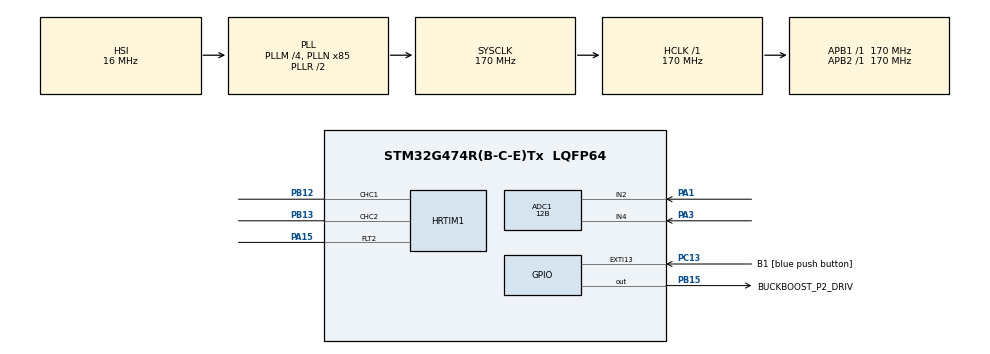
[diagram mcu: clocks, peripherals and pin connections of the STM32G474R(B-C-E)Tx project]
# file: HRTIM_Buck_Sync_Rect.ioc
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ADC1.Channel-3\#ChannelRegularConversion=ADC_CHANNEL_2
ADC1.Channel-IN2=ADC_CHANNEL_2
ADC1.Channel-IN4=ADC_CHANNEL_4
ADC1.ClockPrescaler=ADC_CLOCK_SYNC_PCLK_DIV4
ADC1.ContinuousConvMode=DISABLE
ADC1.DMAContinuousRequests=DISABLE
ADC1.DataAlign=ADC_DATAALIGN_RIGHT
ADC1.DiscontinuousConvMode=DISABLE
ADC1.EOCSelection=ADC_EOC_SINGLE_CONV
ADC1.EnableAnalogWatchDog1=false
ADC1.EnableAnalogWatchDog2=false
ADC1.EnableAnalogWatchDog3=false
ADC1.EnableInjectedConversion=ENABLE
ADC1.EnableInjectedOversampling=DISABLE
ADC1.EnableRegularConversion=ENABLE
ADC1.ExternalTrigConv=ADC_SOFTWARE_START
ADC1.ExternalTrigConvEdge=ADC_EXTERNALTRIGCONVEDGE_NONE
ADC1.ExternalTrigInjecConv=ADC_EXTERNALTRIGINJEC_HRTIM_TRG2
ADC1.ExternalTrigInjecConvEdge=ADC_EXTERNALTRIGINJECCONV_EDGE_RISING
ADC1.GainCompensation=0
ADC1.InjNumberOfConversion=2
ADC1.InjectedChannel-1\#ChannelInjectedConversion=ADC_CHANNEL_2
ADC1.InjectedChannel-2\#ChannelInjectedConversion=ADC_CHANNEL_4
ADC1.InjectedConvMode=None
ADC1.InjectedOffsetNumber-1\#ChannelInjectedConversion=ADC_OFFSET_NONE
ADC1.InjectedOffsetNumber-2\#ChannelInjectedConversion=ADC_OFFSET_NONE
ADC1.InjectedRank-1\#ChannelInjectedConversion=1
ADC1.InjectedRank-2\#ChannelInjectedConversion=2
ADC1.InjectedSamplingTime-1\#ChannelInjectedConversion=ADC_SAMPLETIME_247CYCLES_5
ADC1.InjectedSamplingTime-2\#ChannelInjectedConversion=ADC_SAMPLETIME_247CYCLES_5
ADC1.LowPowerAutoWait=DISABLE
ADC1.Mode=ADC_MODE_INDEPENDENT
ADC1.NbrOfConversion=1
ADC1.OffsetNumber-3\#ChannelRegularConversion=ADC_OFFSET_NONE
ADC1.Overrun=ADC_OVR_DATA_PRESERVED
ADC1.OversamplingMode=DISABLE
ADC1.Rank-3\#ChannelRegularConversion=1
ADC1.Resolution=ADC_RESOLUTION_12B
ADC1.SamplingTime-3\#ChannelRegularConversion=ADC_SAMPLETIME_247CYCLES_5
ADC1.ScanConvMode=ADC_SCAN_ENABLE
ADC1.injectedQueueMode=DISABLE
ADC1.master=1
HRTIM1.ADCTrigger2_Source1=HRTIM_ADCTRIGGEREVENT24_TIMERC_CMP2
HRTIM1.ADCTrigger_Id1=__NULL
HRTIM1.ADCTrigger_Id10=__NULL
HRTIM1.ADCTrigger_Id2=HRTIM_ADCTRIGGER_2
HRTIM1.ADCTrigger_Id3=__NULL
HRTIM1.ADCTrigger_Id4=__NULL
HRTIM1.ADCTrigger_Id5=__NULL
HRTIM1.ADCTrigger_Id6=__NULL
HRTIM1.ADCTrigger_Id7=__NULL
HRTIM1.ADCTrigger_Id8=__NULL
HRTIM1.ADCTrigger_Id9=__NULL
HRTIM1.AutoDelayedMode2-Output_TC1TC2=HRTIM_AUTODELAYEDMODE_REGULAR
HRTIM1.BlankingSourceFaultLine2=HRTIM_FAULTBLANKINGMODE_RSTALIGNED
HRTIM1.BurstDMAconfig-Output_TC1TC2=__NULL
HRTIM1.BurstMode-Output_TC1TC2=HRTIM_TIMERBURSTMODE_MAINTAINCLOCK
HRTIM1.BurstModeEntryDelayed1-Output_TC1TC2=HRTIM_OUTPUTBURSTMODEENTRY_REGULAR
HRTIM1.BurstModeEntryDelayed2-Output_TC1TC2=HRTIM_OUTPUTBURSTMODEENTRY_REGULAR
HRTIM1.CaptureUnit1-Output_TC1TC2=__NULL
HRTIM1.CaptureUnit2-Output_TC1TC2=__NULL
HRTIM1.ChopperModeEnable1-Output_TC1TC2=HRTIM_OUTPUTCHOPPERMODE_DISABLED
HRTIM1.ChopperModeEnable2-Output_TC1TC2=HRTIM_OUTPUTCHOPPERMODE_DISABLED
HRTIM1.ChopperModeconfig-Output_TC1TC2=__NULL
HRTIM1.CompareUnit1-Output_TC1TC2=HRTIM_COMPAREUNIT_1
HRTIM1.CompareUnit2-Output_TC1TC2=HRTIM_COMPAREUNIT_2
HRTIM1.CompareUnit3-Output_TC1TC2=__NULL
HRTIM1.CompareUnit4-Output_TC1TC2=__NULL
HRTIM1.CompareValue1-Output_TC1TC2=BUCK_PWM_PERIOD/20
HRTIM1.CompareValue2-Output_TC1TC2=BUCK_PWM_PERIOD/10
HRTIM1.Configuration_TC=Waveform
HRTIM1.CounterFaultLine2=0
HRTIM1.DACSynchro-Output_TC1TC2=HRTIM_DACSYNC_NONE
HRTIM1.DeadTimeInsertion-Output_TC1TC2=HRTIM_TIMDEADTIMEINSERTION_ENABLED
HRTIM1.Deadtimeconfig-Output_TC1TC2=HRTIM_TIMERINDEX_TIMER_C
HRTIM1.DelayedProtectionMode-Output_TC1TC2=HRTIM_TIMER_A_B_C_DELAYEDPROTECTION_DISABLED
HRTIM1.DualChannelDacEnableFake_TC-Output_TC1TC2=HRTIM_TIMER_DCDE_DISABLED
HRTIM1.Enable=HRTIM_BURSTMODECTL_DISABLED
HRTIM1.Enable_FaultLine2=HRTIM_FAULTMODECTL_ENABLED
HRTIM1.Event1-Output_TC1TC2=__NULL
HRTIM1.Event10-Output_TC1TC2=__NULL
HRTIM1.Event2-Output_TC1TC2=__NULL
HRTIM1.Event3-Output_TC1TC2=__NULL
HRTIM1.Event4-Output_TC1TC2=__NULL
HRTIM1.Event5-Output_TC1TC2=__NULL
HRTIM1.Event6-Output_TC1TC2=__NULL
HRTIM1.Event7-Output_TC1TC2=__NULL
HRTIM1.Event8-Output_TC1TC2=__NULL
HRTIM1.Event9-Output_TC1TC2=__NULL
HRTIM1.EventEnableA-Output_TC1TC2=__NULL
HRTIM1.Event_EEV1=__NULL
HRTIM1.Event_EEV10=__NULL
HRTIM1.Event_EEV2=__NULL
HRTIM1.Event_EEV3=__NULL
HRTIM1.Event_EEV4=__NULL
HRTIM1.Event_EEV5=__NULL
HRTIM1.Event_EEV6=__NULL
HRTIM1.Event_EEV7=__NULL
HRTIM1.Event_EEV8=__NULL
HRTIM1.Event_EEV9=__NULL
HRTIM1.FallingLock-Output_TC1TC2=HRTIM_TIMDEADTIME_FALLINGLOCK_WRITE
HRTIM1.FallingSign-Output_TC1TC2=HRTIM_TIMDEADTIME_FALLINGSIGN_POSITIVE
HRTIM1.FallingSignLock-Output_TC1TC2=HRTIM_TIMDEADTIME_FALLINGSIGNLOCK_READONLY
HRTIM1.FallingValue-Output_TC1TC2=DT_FALLING
HRTIM1.FaultEnable_Source1-Output_TC1TC2=HRTIM_TIMFAULTENABLE_FAULT2
HRTIM1.FaultLevel1-Output_TC1TC2=HRTIM_OUTPUTFAULTLEVEL_INACTIVE
HRTIM1.FaultLevel2-Output_TC1TC2=HRTIM_OUTPUTFAULTLEVEL_INACTIVE
HRTIM1.FaultLock-Output_TC1TC2=HRTIM_TIMFAULTLOCK_READWRITE
HRTIM1.Fault_Line1=__NULL
HRTIM1.Fault_Line2=HRTIM_FAULT_2
HRTIM1.Fault_Line3=__NULL
HRTIM1.Fault_Line4=__NULL
HRTIM1.Fault_Line5=__NULL
HRTIM1.Fault_Line6=__NULL
HRTIM1.Filter_FaultLine2=HRTIM_FAULTFILTER_NONE
HRTIM1.GreaterCMP1_TC=HRTIM_TIMERGTCMP1_EQUAL
HRTIM1.HRTIMInterruptResquests1=HRTIM_IT_NONE
HRTIM1.HRTIMInterruptResquests2=HRTIM_IT_NONE
HRTIM1.HRTIMInterruptResquests3=HRTIM_IT_NONE
HRTIM1.HRTIMInterruptResquests4=HRTIM_IT_NONE
HRTIM1.HRTIMInterruptResquests5=HRTIM_IT_NONE
HRTIM1.HRTIMInterruptResquests6=HRTIM_IT_NONE
HRTIM1.HRTIMInterruptResquests7=HRTIM_IT_NONE
HRTIM1.HRTIMInterruptResquests8=HRTIM_IT_NONE
HRTIM1.HRTIMInterruptResquests9=HRTIM_IT_NONE
HRTIM1.IdleLevel1-Output_TC1TC2=HRTIM_OUTPUTIDLELEVEL_INACTIVE
HRTIM1.IdleLevel2-Output_TC1TC2=HRTIM_OUTPUTIDLELEVEL_INACTIVE
HRTIM1.IdleMode1-Output_TC1TC2=HRTIM_OUTPUTIDLEMODE_NONE
HRTIM1.IdleMode2-Output_TC1TC2=HRTIM_OUTPUTIDLEMODE_NONE
HRTIM1.InterleavedMode-Output_TC1TC2=HRTIM_INTERLEAVED_MODE_DISABLED
HRTIM1.InterruptRequests1-Output_TC1TC2=HRTIM_TIM_IT_REP
HRTIM1.Lock_FaultLine2=HRTIM_FAULTLOCK_READWRITE
HRTIM1.ModeTimeBase-Output_TC1TC2=HRTIM_MODE_CONTINUOUS
HRTIM1.NumberADCTriggerSource2=1
HRTIM1.NumberDMARequests_TC=0
HRTIM1.NumberFaultEnable-Output_TC1TC2=1
HRTIM1.NumberInterruptRequests-Output_TC1TC2=1
HRTIM1.NumberResetSource1-Output_TC1TC2=1
HRTIM1.NumberResetSource2_TC=1
HRTIM1.NumberResetTrigger-Output_TC1TC2=0
HRTIM1.NumberSetSource1-Output_TC1TC2=1
HRTIM1.NumberSetSource2_TC=1
HRTIM1.NumberUpdateTrigger-Output_TC1TC2=0
HRTIM1.ORingUpdateSource_ADCTrigger2=HRTIM_ADCTRIGGERUPDATE_TIMER_C
HRTIM1.Output1-Output_TC1TC2=HRTIM_OUTPUT_TC1
HRTIM1.Output2-Output_TC1TC2=HRTIM_OUTPUT_TC2
HRTIM1.Periode_TC=BUCK_PWM_PERIOD
HRTIM1.Polarity1-Output_TC1TC2=HRTIM_OUTPUTPOLARITY_HIGH
HRTIM1.Polarity2-Output_TC1TC2=HRTIM_OUTPUTPOLARITY_HIGH
HRTIM1.Polarity_FaultLine2=HRTIM_FAULTPOLARITY_LOW
HRTIM1.PreloadEnable-Output_TC1TC2=HRTIM_PRELOAD_ENABLED
HRTIM1.PrescalerDead-Output_TC1TC2=HRTIM_TIMDEADTIME_PRESCALERRATIO_MUL8
HRTIM1.PrescalerFault=HRTIM_FAULTPRESCALER_DIV1
HRTIM1.PushPull-Output_TC1TC2=HRTIM_TIMPUSHPULLMODE_DISABLED
HRTIM1.ReSyncUpdate-Output_TC1TC2=HRTIM_TIMERESYNC_UPDATE_UNCONDITIONAL
HRTIM1.RepetitionCounter-Output_TC1TC2=127
HRTIM1.RepetitionUpdate-Output_TC1TC2=HRTIM_UPDATEONREPETITION_ENABLED
HRTIM1.ResetModeFaultLine2=HRTIM_FAULTCOUNTERRST_UNCONDITIONAL
HRTIM1.ResetOnSync-Output_TC1TC2=HRTIM_SYNCRESET_DISABLED
HRTIM1.ResetOutput1_Source1-Output_TC1TC2=HRTIM_OUTPUTRESET_TIMCMP1
HRTIM1.ResetOutput2_Source1-Output_TC1TC2=HRTIM_OUTPUTRESET_TIMCMP1
HRTIM1.ResetUpdate-Output_TC1TC2=HRTIM_TIMUPDATEONRESET_DISABLED
HRTIM1.RisingLock-Output_TC1TC2=HRTIM_TIMDEADTIME_RISINGLOCK_WRITE
HRTIM1.RisingSign-Output_TC1TC2=HRTIM_TIMDEADTIME_RISINGSIGN_POSITIVE
HRTIM1.RisingSignLock-Output_TC1TC2=HRTIM_TIMDEADTIME_RISINGSIGNLOCK_READONLY
HRTIM1.RisingValue-Output_TC1TC2=DT_RISING
HRTIM1.SetOutput1_Source1-Output_TC1TC2=HRTIM_OUTPUTSET_TIMPER
HRTIM1.SetOutput2_Source1-Output_TC1TC2=HRTIM_OUTPUTSET_TIMPER
HRTIM1.Source_FaultLine2=HRTIM_FAULTSOURCE_DIGITALINPUT
HRTIM1.StartOnSync-Output_TC1TC2=HRTIM_SYNCSTART_DISABLED
HRTIM1.SwapC=__NULL
HRTIM1.SyncOptions=HRTIM_SYNCOPTION_NONE
HRTIM1.Timeout=100
HRTIM1.TimerIdx-Output_TC1TC2=HRTIM_TIMERINDEX_TIMER_C
HRTIM1.TrigHalf_TC=HRTIM_TIMERTRIGHALF_DISABLED
HRTIM1.UpDownMode-Output_TC1TC2=HRTIM_TIMERUPDOWNMODE_UP
HRTIM1.UpdateGating-Output_TC1TC2=HRTIM_UPDATEGATING_INDEPENDENT
Mcu.Family=STM32G4
Mcu.Name=STM32G474R(B-C-E)Tx
Mcu.Package=LQFP64
Mcu.UserConstants=DT_RISING,250;DT_FALLING,300;BUCK_PWM_PERIOD,21760
NVIC.PriorityGroup=NVIC_PRIORITYGROUP_4
PA1.Mode=IN2-Single-Ended
PA1.Signal=ADC1_IN2
PA13.GPIO_Label=T_SWDIO
PA13.Mode=Serial_Wire
PA13.Signal=SYS_JTMS-SWDIO
PA14.GPIO_Label=T_SWCLK
PA14.Mode=Serial_Wire
PA14.Signal=SYS_JTCK-SWCLK
PA15.GPIO_PuPd=GPIO_PULLUP
PA15.Mode=Fault_Enable2
PA15.Signal=HRTIM1_FLT2
PA3.Mode=IN4-Single-Ended
PA3.Signal=ADC1_IN4
PB12.Mode=Output_TC1TC2
PB12.Signal=HRTIM1_CHC1
PB13.Mode=Output_TC1TC2
PB13.Signal=HRTIM1_CHC2
PB15.GPIO_Label=BUCKBOOST_P2_DRIV
PB15.Signal=GPIO_Output
PB3.GPIO_Label=T_SWO
PB3.Signal=SYS_JTDO-SWO
PC13.GPIO_Label=B1 [blue push button]
PC13.Signal=GPXTI13
PC4.GPIO_Label=USART1_TX [STLINKV3E_VCP_RX]
PC4.Signal=USART1_TX
PC5.GPIO_Label=USART1_RX [STLINKV3E_VCP_TX]
PC5.Signal=USART1_RX
ProjectManager.HeapSize=0x200
ProjectManager.StackSize=0x400
ProjectManager.TargetToolchain=EWARM V8.32
RCC.ADC12Freq_Value=170000000
RCC.ADC345Freq_Value=170000000
RCC.AHBFreq_Value=170000000
RCC.APB1Freq_Value=170000000
RCC.APB1TimFreq_Value=170000000
RCC.APB2Freq_Value=170000000
RCC.APB2TimFreq_Value=170000000
RCC.CortexFreq_Value=170000000
RCC.EXTERNAL_CLOCK_VALUE=12288000
RCC.HCLKFreq_Value=170000000
RCC.HSE_VALUE=24000000
RCC.HSI48_VALUE=48000000
RCC.HSI_VALUE=16000000
RCC.LSE_VALUE=32768
RCC.PLLM=RCC_PLLM_DIV4
RCC.PLLN=85
RCC.SYSCLKFreq_VALUE=170000000
RCC.SYSCLKSource=RCC_SYSCLKSOURCE_PLLCLK
RCC.USBFreq_Value=170000000
RCC.VCOOutputFreq_Value=340000000
VP_SYS_VS_DBSignals.Mode=DisableDeadBatterySignals
board=custom

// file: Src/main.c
/* USER CODE BEGIN Header */
/**
  ******************************************************************************
  * @file           : main.c
  * @brief          : Main program body
  ******************************************************************************
  * @attention
  *
  * Copyright (c) 2019 STMicroelectronics.
  * All rights reserved.
  *
  * This software is licensed under terms that can be found in the LICENSE file
  * in the root directory of this software component.
  * If no LICENSE file comes with this software, it is provided AS-IS.
  *
  ******************************************************************************
  */
/* USER CODE END Header */
#include "main.h"

/* USER CODE BEGIN Includes */
#include "b_g474e_dpow1.h"
/* USER CODE END Includes */

/* USER CODE BEGIN PD */
#define ADC_VREF ((uint16_t)3300) /* Vref+ input voltage in mV */

/* USER CODE END PD */

ADC_HandleTypeDef hadc1;

HRTIM_HandleTypeDef hhrtim1;

/* USER CODE BEGIN PV */
__IO uint32_t ADCReadout;
__IO uint32_t Vin, Vout;

/* USER CODE END PV */

void SystemClock_Config(void);
static void MX_GPIO_Init(void);
static void MX_HRTIM1_Init(void);
static void MX_ADC1_Init(void);

int main(void)
{

  /* MCU Configuration--------------------------------------------------------*/

  /* Reset of all peripherals, Initializes the Flash interface and the Systick. */
  HAL_Init();

  /* Configure the system clock */
  SystemClock_Config();

  /* Initialize all configured peripherals */
  MX_GPIO_Init();
  MX_HRTIM1_Init();
  MX_ADC1_Init();
  /* USER CODE BEGIN 2 */
  BSP_LED_Init(LED5);
  BSP_LED_Init(LED4);
  BSP_LED_Init(LED3);

  BSP_JOY_Init(JOY1, JOY_MODE_GPIO, JOY_SEL);

  /* Turn ON T6 MOSFET on discovery board */
  HAL_GPIO_WritePin(BUCKBOOST_P2_DRIV_GPIO_Port, BUCKBOOST_P2_DRIV_Pin, GPIO_PIN_SET);

  /* Run the ADC1 calibration in single-ended mode */
  HAL_ADCEx_Calibration_Start(&hadc1, ADC_SINGLE_ENDED);

  /* Start ADC1 Injected Conversions */
  HAL_ADCEx_InjectedStart(&hadc1);

  /* ---------------*/
  /* HRTIM start-up */
  /* ---------------*/
  /* Enable HRTIM's outputs TC1 and TC2 */
  /* Note: it is necessary to enable also GPIOs to have outputs functional */
  /* This must be done after HRTIM initialization */
  LL_HRTIM_EnableOutput(HRTIM1, LL_HRTIM_OUTPUT_TC1 | LL_HRTIM_OUTPUT_TC2);
  /* Start HRTIM's TIMER C */
  LL_HRTIM_EnableIT_REP(HRTIM1, LL_HRTIM_TIMER_C);
  LL_HRTIM_TIM_CounterEnable(HRTIM1, LL_HRTIM_TIMER_C);

  /* USER CODE END 2 */

  /* Infinite loop */
  while (1)
  {

    /* USER CODE BEGIN 3 */

    /* ---------------- */
    /* Fault management */
    /* ---------------- */
    while(LL_HRTIM_IsActiveFlag_FLT2(HRTIM1) == SET)
    {
      /* LED5 is flashing in case of fault */
      BSP_LED_On(LED5);
      HAL_Delay(20);
      BSP_LED_Off(LED5);
      HAL_Delay(80);

      /* Re-arm HRTIM TC outputs if "User" push button is pressed*/
      if (BSP_JOY_GetState(JOY1) == JOY_SEL)
      {
          LL_HRTIM_ClearFlag_FLT2(HRTIM1);
          LL_HRTIM_EnableOutput(HRTIM1, LL_HRTIM_OUTPUT_TC1);
          LL_HRTIM_EnableOutput(HRTIM1, LL_HRTIM_OUTPUT_TC2);
      }
    }

    /* ---------------- */
    /* Normal operation */
    /* ---------------- */
    /* LED4 toggling to show MCU activity */
    BSP_LED_On(LED4);
    HAL_Delay(100);
    BSP_LED_Off(LED4);
    HAL_Delay(400);

    /* -----------------------------------------------------------------------*/
    /* Input and output voltages can be displayed real-time in a watch window */
    /* -----------------------------------------------------------------------*/
    Vin = (HAL_ADCEx_InjectedGetValue(&hadc1, ADC_INJECTED_RANK_1) * ADC_VREF)/0x1000;
    /* VIN bridge conversion is 4.97 (6.8K / 6.8K + 27K) */
    Vin = (497 * Vin )/100;

    Vout = (HAL_ADCEx_InjectedGetValue(&hadc1, ADC_INJECTED_RANK_2) * ADC_VREF)/0x1000;
    /* VOUT bridge conversion is 5.03 (3.3K / 3.3K + 13.3K) */
    Vout = (503 * Vout)/100;

  }
  /* USER CODE END 3 */
}

void SystemClock_Config(void)
{
  RCC_OscInitTypeDef RCC_OscInitStruct = {0};
  RCC_ClkInitTypeDef RCC_ClkInitStruct = {0};

  /** Configure the main internal regulator output voltage
  */
  HAL_PWREx_ControlVoltageScaling(PWR_REGULATOR_VOLTAGE_SCALE1_BOOST);

  /** Initializes the RCC Oscillators according to the specified parameters
  * in the RCC_OscInitTypeDef structure.
  */
  RCC_OscInitStruct.OscillatorType = RCC_OSCILLATORTYPE_HSI;
  RCC_OscInitStruct.HSIState = RCC_HSI_ON;
  RCC_OscInitStruct.HSICalibrationValue = RCC_HSICALIBRATION_DEFAULT;
  RCC_OscInitStruct.PLL.PLLState = RCC_PLL_ON;
  RCC_OscInitStruct.PLL.PLLSource = RCC_PLLSOURCE_HSI;
  RCC_OscInitStruct.PLL.PLLM = RCC_PLLM_DIV4;
  RCC_OscInitStruct.PLL.PLLN = 85;
  RCC_OscInitStruct.PLL.PLLP = RCC_PLLP_DIV2;
  RCC_OscInitStruct.PLL.PLLQ = RCC_PLLQ_DIV2;
  RCC_OscInitStruct.PLL.PLLR = RCC_PLLR_DIV2;
  if (HAL_RCC_OscConfig(&RCC_OscInitStruct) != HAL_OK)
  {
    Error_Handler();
  }

  /** Initializes the CPU, AHB and APB buses clocks
  */
  RCC_ClkInitStruct.ClockType = RCC_CLOCKTYPE_HCLK|RCC_CLOCKTYPE_SYSCLK
                              |RCC_CLOCKTYPE_PCLK1|RCC_CLOCKTYPE_PCLK2;
  RCC_ClkInitStruct.SYSCLKSource = RCC_SYSCLKSOURCE_PLLCLK;
  RCC_ClkInitStruct.AHBCLKDivider = RCC_SYSCLK_DIV1;
  RCC_ClkInitStruct.APB1CLKDivider = RCC_HCLK_DIV1;
  RCC_ClkInitStruct.APB2CLKDivider = RCC_HCLK_DIV1;

  if (HAL_RCC_ClockConfig(&RCC_ClkInitStruct, FLASH_LATENCY_4) != HAL_OK)
  {
    Error_Handler();
  }
}

static void MX_ADC1_Init(void)
{

  ADC_MultiModeTypeDef multimode = {0};
  ADC_InjectionConfTypeDef sConfigInjected = {0};
  ADC_ChannelConfTypeDef sConfig = {0};

  /** Common config
  */
  hadc1.Instance = ADC1;
  hadc1.Init.ClockPrescaler = ADC_CLOCK_SYNC_PCLK_DIV4;
  hadc1.Init.Resolution = ADC_RESOLUTION_12B;
  hadc1.Init.DataAlign = ADC_DATAALIGN_RIGHT;
  hadc1.Init.GainCompensation = 0;
  hadc1.Init.ScanConvMode = ADC_SCAN_ENABLE;
  hadc1.Init.EOCSelection = ADC_EOC_SINGLE_CONV;
  hadc1.Init.LowPowerAutoWait = DISABLE;
  hadc1.Init.ContinuousConvMode = DISABLE;
  hadc1.Init.NbrOfConversion = 1;
  hadc1.Init.DiscontinuousConvMode = DISABLE;
  hadc1.Init.ExternalTrigConv = ADC_SOFTWARE_START;
  hadc1.Init.ExternalTrigConvEdge = ADC_EXTERNALTRIGCONVEDGE_NONE;
  hadc1.Init.DMAContinuousRequests = DISABLE;
  hadc1.Init.Overrun = ADC_OVR_DATA_PRESERVED;
  hadc1.Init.OversamplingMode = DISABLE;
  if (HAL_ADC_Init(&hadc1) != HAL_OK)
  {
    Error_Handler();
  }

  /** Configure the ADC multi-mode
  */
  multimode.Mode = ADC_MODE_INDEPENDENT;
  if (HAL_ADCEx_MultiModeConfigChannel(&hadc1, &multimode) != HAL_OK)
  {
    Error_Handler();
  }

  /** Configure Injected Channel
  */
  sConfigInjected.InjectedChannel = ADC_CHANNEL_2;
  sConfigInjected.InjectedRank = ADC_INJECTED_RANK_1;
  sConfigInjected.InjectedSamplingTime = ADC_SAMPLETIME_247CYCLES_5;
  sConfigInjected.InjectedSingleDiff = ADC_SINGLE_ENDED;
  sConfigInjected.InjectedOffsetNumber = ADC_OFFSET_NONE;
  sConfigInjected.InjectedOffset = 0;
  sConfigInjected.InjectedNbrOfConversion = 2;
  sConfigInjected.InjectedDiscontinuousConvMode = DISABLE;
  sConfigInjected.AutoInjectedConv = DISABLE;
  sConfigInjected.QueueInjectedContext = DISABLE;
  sConfigInjected.ExternalTrigInjecConv = ADC_EXTERNALTRIGINJEC_HRTIM_TRG2;
  sConfigInjected.ExternalTrigInjecConvEdge = ADC_EXTERNALTRIGINJECCONV_EDGE_RISING;
  sConfigInjected.InjecOversamplingMode = DISABLE;
  if (HAL_ADCEx_InjectedConfigChannel(&hadc1, &sConfigInjected) != HAL_OK)
  {
    Error_Handler();
  }

  /** Configure Injected Channel
  */
  sConfigInjected.InjectedChannel = ADC_CHANNEL_4;
  sConfigInjected.InjectedRank = ADC_INJECTED_RANK_2;
  if (HAL_ADCEx_InjectedConfigChannel(&hadc1, &sConfigInjected) != HAL_OK)
  {
    Error_Handler();
  }

  /** Configure Regular Channel
  */
  sConfig.Channel = ADC_CHANNEL_2;
  sConfig.Rank = ADC_REGULAR_RANK_1;
  sConfig.SamplingTime = ADC_SAMPLETIME_247CYCLES_5;
  sConfig.SingleDiff = ADC_SINGLE_ENDED;
  sConfig.OffsetNumber = ADC_OFFSET_NONE;
  sConfig.Offset = 0;
  if (HAL_ADC_ConfigChannel(&hadc1, &sConfig) != HAL_OK)
  {
    Error_Handler();
  }

}

static void MX_HRTIM1_Init(void)
{

  HRTIM_FaultBlankingCfgTypeDef pFaultBlkCfg = {0};
  HRTIM_FaultCfgTypeDef pFaultCfg = {0};
  HRTIM_ADCTriggerCfgTypeDef pADCTriggerCfg = {0};
  HRTIM_TimeBaseCfgTypeDef pTimeBaseCfg = {0};
  HRTIM_TimerCtlTypeDef pTimerCtl = {0};
  HRTIM_TimerCfgTypeDef pTimerCfg = {0};
  HRTIM_CompareCfgTypeDef pCompareCfg = {0};
  HRTIM_DeadTimeCfgTypeDef pDeadTimeCfg = {0};
  HRTIM_OutputCfgTypeDef pOutputCfg = {0};

  hhrtim1.Instance = HRTIM1;
  hhrtim1.Init.HRTIMInterruptResquests = HRTIM_IT_NONE;
  hhrtim1.Init.SyncOptions = HRTIM_SYNCOPTION_NONE;
  if (HAL_HRTIM_Init(&hhrtim1) != HAL_OK)
  {
    Error_Handler();
  }
  if (HAL_HRTIM_DLLCalibrationStart(&hhrtim1, HRTIM_CALIBRATIONRATE_3) != HAL_OK)
  {
    Error_Handler();
  }
  if (HAL_HRTIM_PollForDLLCalibration(&hhrtim1, 100) != HAL_OK)
  {
    Error_Handler();
  }
  if (HAL_HRTIM_FaultPrescalerConfig(&hhrtim1, HRTIM_FAULTPRESCALER_DIV1) != HAL_OK)
  {
    Error_Handler();
  }
  pFaultBlkCfg.Threshold = 0;
  pFaultBlkCfg.ResetMode = HRTIM_FAULTCOUNTERRST_UNCONDITIONAL;
  pFaultBlkCfg.BlankingSource = HRTIM_FAULTBLANKINGMODE_RSTALIGNED;
  if (HAL_HRTIM_FaultCounterConfig(&hhrtim1, HRTIM_FAULT_2, &pFaultBlkCfg) != HAL_OK)
  {
    Error_Handler();
  }
  if (HAL_HRTIM_FaultBlankingConfigAndEnable(&hhrtim1, HRTIM_FAULT_2, &pFaultBlkCfg) != HAL_OK)
  {
    Error_Handler();
  }
  pFaultCfg.Source = HRTIM_FAULTSOURCE_DIGITALINPUT;
  pFaultCfg.Polarity = HRTIM_FAULTPOLARITY_LOW;
  pFaultCfg.Filter = HRTIM_FAULTFILTER_NONE;
  pFaultCfg.Lock = HRTIM_FAULTLOCK_READWRITE;
  if (HAL_HRTIM_FaultConfig(&hhrtim1, HRTIM_FAULT_2, &pFaultCfg) != HAL_OK)
  {
    Error_Handler();
  }
  HAL_HRTIM_FaultModeCtl(&hhrtim1, HRTIM_FAULT_2, HRTIM_FAULTMODECTL_ENABLED);
  pADCTriggerCfg.UpdateSource = HRTIM_ADCTRIGGERUPDATE_TIMER_C;
  pADCTriggerCfg.Trigger = HRTIM_ADCTRIGGEREVENT24_TIMERC_CMP2;
  if (HAL_HRTIM_ADCTriggerConfig(&hhrtim1, HRTIM_ADCTRIGGER_2, &pADCTriggerCfg) != HAL_OK)
  {
    Error_Handler();
  }
  if (HAL_HRTIM_ADCPostScalerConfig(&hhrtim1, HRTIM_ADCTRIGGER_2, 0x0) != HAL_OK)
  {
    Error_Handler();
  }
  pTimeBaseCfg.Period = BUCK_PWM_PERIOD;
  pTimeBaseCfg.RepetitionCounter = 127;
  pTimeBaseCfg.PrescalerRatio = HRTIM_PRESCALERRATIO_MUL32;
  pTimeBaseCfg.Mode = HRTIM_MODE_CONTINUOUS;
  if (HAL_HRTIM_TimeBaseConfig(&hhrtim1, HRTIM_TIMERINDEX_TIMER_C, &pTimeBaseCfg) != HAL_OK)
  {
    Error_Handler();
  }
  pTimerCtl.UpDownMode = HRTIM_TIMERUPDOWNMODE_UP;
  pTimerCtl.TrigHalf = HRTIM_TIMERTRIGHALF_DISABLED;
  pTimerCtl.GreaterCMP1 = HRTIM_TIMERGTCMP1_EQUAL;
  pTimerCtl.DualChannelDacEnable = HRTIM_TIMER_DCDE_DISABLED;
  if (HAL_HRTIM_WaveformTimerControl(&hhrtim1, HRTIM_TIMERINDEX_TIMER_C, &pTimerCtl) != HAL_OK)
  {
    Error_Handler();
  }
  pTimerCfg.InterruptRequests = HRTIM_TIM_IT_REP;
  pTimerCfg.DMARequests = HRTIM_TIM_DMA_NONE;
  pTimerCfg.DMASrcAddress = 0x0000;
  pTimerCfg.DMADstAddress = 0x0000;
  pTimerCfg.DMASize = 0x1;
  pTimerCfg.HalfModeEnable = HRTIM_HALFMODE_DISABLED;
  pTimerCfg.InterleavedMode = HRTIM_INTERLEAVED_MODE_DISABLED;
  pTimerCfg.StartOnSync = HRTIM_SYNCSTART_DISABLED;
  pTimerCfg.ResetOnSync = HRTIM_SYNCRESET_DISABLED;
  pTimerCfg.DACSynchro = HRTIM_DACSYNC_NONE;
  pTimerCfg.PreloadEnable = HRTIM_PRELOAD_ENABLED;
  pTimerCfg.UpdateGating = HRTIM_UPDATEGATING_INDEPENDENT;
  pTimerCfg.BurstMode = HRTIM_TIMERBURSTMODE_MAINTAINCLOCK;
  pTimerCfg.RepetitionUpdate = HRTIM_UPDATEONREPETITION_ENABLED;
  pTimerCfg.PushPull = HRTIM_TIMPUSHPULLMODE_DISABLED;
  pTimerCfg.FaultEnable = HRTIM_TIMFAULTENABLE_FAULT2;
  pTimerCfg.FaultLock = HRTIM_TIMFAULTLOCK_READWRITE;
  pTimerCfg.DeadTimeInsertion = HRTIM_TIMDEADTIMEINSERTION_ENABLED;
  pTimerCfg.DelayedProtectionMode = HRTIM_TIMER_A_B_C_DELAYEDPROTECTION_DISABLED;
  pTimerCfg.UpdateTrigger = HRTIM_TIMUPDATETRIGGER_NONE;
  pTimerCfg.ResetTrigger = HRTIM_TIMRESETTRIGGER_NONE;
  pTimerCfg.ResetUpdate = HRTIM_TIMUPDATEONRESET_DISABLED;
  pTimerCfg.ReSyncUpdate = HRTIM_TIMERESYNC_UPDATE_UNCONDITIONAL;
  if (HAL_HRTIM_WaveformTimerConfig(&hhrtim1, HRTIM_TIMERINDEX_TIMER_C, &pTimerCfg) != HAL_OK)
  {
    Error_Handler();
  }
  pCompareCfg.CompareValue = BUCK_PWM_PERIOD/20;
  if (HAL_HRTIM_WaveformCompareConfig(&hhrtim1, HRTIM_TIMERINDEX_TIMER_C, HRTIM_COMPAREUNIT_1, &pCompareCfg) != HAL_OK)
  {
    Error_Handler();
  }
  pCompareCfg.CompareValue = BUCK_PWM_PERIOD/10;
  pCompareCfg.AutoDelayedMode = HRTIM_AUTODELAYEDMODE_REGULAR;
  pCompareCfg.AutoDelayedTimeout = 0x0000;

  if (HAL_HRTIM_WaveformCompareConfig(&hhrtim1, HRTIM_TIMERINDEX_TIMER_C, HRTIM_COMPAREUNIT_2, &pCompareCfg) != HAL_OK)
  {
    Error_Handler();
  }
  pDeadTimeCfg.Prescaler = HRTIM_TIMDEADTIME_PRESCALERRATIO_MUL8;
  pDeadTimeCfg.RisingValue = DT_RISING;
  pDeadTimeCfg.RisingSign = HRTIM_TIMDEADTIME_RISINGSIGN_POSITIVE;
  pDeadTimeCfg.RisingLock = HRTIM_TIMDEADTIME_RISINGLOCK_WRITE;
  pDeadTimeCfg.RisingSignLock = HRTIM_TIMDEADTIME_RISINGSIGNLOCK_READONLY;
  pDeadTimeCfg.FallingValue = DT_FALLING;
  pDeadTimeCfg.FallingSign = HRTIM_TIMDEADTIME_FALLINGSIGN_POSITIVE;
  pDeadTimeCfg.FallingLock = HRTIM_TIMDEADTIME_FALLINGLOCK_WRITE;
  pDeadTimeCfg.FallingSignLock = HRTIM_TIMDEADTIME_FALLINGSIGNLOCK_READONLY;
  if (HAL_HRTIM_DeadTimeConfig(&hhrtim1, HRTIM_TIMERINDEX_TIMER_C, &pDeadTimeCfg) != HAL_OK)
  {
    Error_Handler();
  }
  pOutputCfg.Polarity = HRTIM_OUTPUTPOLARITY_HIGH;
  pOutputCfg.SetSource = HRTIM_OUTPUTSET_TIMPER;
  pOutputCfg.ResetSource = HRTIM_OUTPUTRESET_TIMCMP1;
  pOutputCfg.IdleMode = HRTIM_OUTPUTIDLEMODE_NONE;
  pOutputCfg.IdleLevel = HRTIM_OUTPUTIDLELEVEL_INACTIVE;
  pOutputCfg.FaultLevel = HRTIM_OUTPUTFAULTLEVEL_INACTIVE;
  pOutputCfg.ChopperModeEnable = HRTIM_OUTPUTCHOPPERMODE_DISABLED;
  pOutputCfg.BurstModeEntryDelayed = HRTIM_OUTPUTBURSTMODEENTRY_REGULAR;
  if (HAL_HRTIM_WaveformOutputConfig(&hhrtim1, HRTIM_TIMERINDEX_TIMER_C, HRTIM_OUTPUT_TC1, &pOutputCfg) != HAL_OK)
  {
    Error_Handler();
  }
  if (HAL_HRTIM_WaveformOutputConfig(&hhrtim1, HRTIM_TIMERINDEX_TIMER_C, HRTIM_OUTPUT_TC2, &pOutputCfg) != HAL_OK)
  {
    Error_Handler();
  }
  HAL_HRTIM_MspPostInit(&hhrtim1);

}

static void MX_GPIO_Init(void)
{
  GPIO_InitTypeDef GPIO_InitStruct = {0};

  /* GPIO Ports Clock Enable */
  __HAL_RCC_GPIOC_CLK_ENABLE();
  __HAL_RCC_GPIOA_CLK_ENABLE();
  __HAL_RCC_GPIOB_CLK_ENABLE();

  /*Configure GPIO pin Output Level */
  HAL_GPIO_WritePin(BUCKBOOST_P2_DRIV_GPIO_Port, BUCKBOOST_P2_DRIV_Pin, GPIO_PIN_RESET);

  /*Configure GPIO pin : B1_Pin */
  GPIO_InitStruct.Pin = B1_Pin;
  GPIO_InitStruct.Mode = GPIO_MODE_IT_RISING;
  GPIO_InitStruct.Pull = GPIO_NOPULL;
  HAL_GPIO_Init(B1_GPIO_Port, &GPIO_InitStruct);

  /*Configure GPIO pins : USART1_TX_Pin USART1_RX_Pin */
  GPIO_InitStruct.Pin = USART1_TX_Pin|USART1_RX_Pin;
  GPIO_InitStruct.Mode = GPIO_MODE_AF_PP;
  GPIO_InitStruct.Pull = GPIO_NOPULL;
  GPIO_InitStruct.Speed = GPIO_SPEED_FREQ_LOW;
  GPIO_InitStruct.Alternate = GPIO_AF7_USART1;
  HAL_GPIO_Init(GPIOC, &GPIO_InitStruct);

  /*Configure GPIO pin : BUCKBOOST_P2_DRIV_Pin */
  GPIO_InitStruct.Pin = BUCKBOOST_P2_DRIV_Pin;
  GPIO_InitStruct.Mode = GPIO_MODE_OUTPUT_PP;
  GPIO_InitStruct.Pull = GPIO_NOPULL;
  GPIO_InitStruct.Speed = GPIO_SPEED_FREQ_LOW;
  HAL_GPIO_Init(BUCKBOOST_P2_DRIV_GPIO_Port, &GPIO_InitStruct);

}

/* USER CODE BEGIN 4 */

#ifdef SNIPPET
/**
* @brief  HRTIM configuration at register level (no HAL call)
* @param  None
* @retval None
*/
static void HRTIM_Config_NoHAL(void)
{
    GPIO_InitTypeDef GPIO_InitStruct;

  /* --------------------------*/
  /* HRTIM Input and NVIC init */
  /* --------------------------*/

  __HAL_RCC_GPIOA_CLK_ENABLE();

  /* Configure HRTIM input: FAULT2 (PA15) */
  GPIO_InitStruct.Pin = GPIO_PIN_15;
  GPIO_InitStruct.Mode = GPIO_MODE_AF_PP;
  GPIO_InitStruct.Pull = GPIO_PULLUP;;
  GPIO_InitStruct.Speed = GPIO_SPEED_FREQ_HIGH;;
  GPIO_InitStruct.Alternate = GPIO_AF13_HRTIM1;

  HAL_GPIO_Init(GPIOB, &GPIO_InitStruct);

  /* Configure and enable C interrupt channel in NVIC */
  HAL_NVIC_SetPriority(HRTIM_TIMC_IRQn, 0, 0);
  HAL_NVIC_EnableIRQ(HRTIM_TIMC_IRQn);

  /* --------------------------*/
  /* HRTIM Clock and DLL init  */
  /* --------------------------*/

  /* Use the PLLx2 clock for HRTIM */
  __HAL_RCC_HRTIM_CONFIG(RCC_HRTIM1CLK_PLLCLK);

  /* Enable HRTIM clock*/
  __HAL_RCC_HRTIM_CLK_ENABLE();

  /* DLL calibration: periodic calibration enabled, period set to 14µs */
  HRTIM1->sCommonRegs.DLLCR = HRTIM_CALIBRATIONRATE_3| HRTIM_DLLCR_CALEN;

  /* Check DLL end of calibration flag */
  while(HRTIM1->sCommonRegs.ISR & HRTIM_IT_DLLRDY == RESET);

  /* -------------------------------------------------------- */
  /* TIMERC initialization: PWM frequency and Repetition rate */
  /* Continuous mode, preload enabled on REP event            */
  /* -------------------------------------------------------- */
  HRTIM1->sTimerxRegs[HRTIM_TIMERINDEX_TIMER_C].PERxR = BUCK_PWM_PERIOD; /* 400kHz switching frequency */
  HRTIM1->sTimerxRegs[HRTIM_TIMERINDEX_TIMER_C].REPxR = 127; /* 1 ISR every 128 PWM periods */

  HRTIM1->sTimerxRegs[HRTIM_TIMERINDEX_TIMER_C].TIMxCR = HRTIM_TIMCR_CONT
                                                       + HRTIM_TIMCR_PREEN
                                                       + HRTIM_TIMCR_TREPU;
  /* Enable REP interrupts */
  HRTIM1->sTimerxRegs[HRTIM_TIMERINDEX_TIMER_C].TIMxDIER = HRTIM_TIMDIER_REPIE;

  /* --------------------------------------------------------------- */
  /* TC1 and TC2 waveforms description: Set on period, reset on CMP1 */
  /* deadtime enabled, fault1 selected, disabling both outputs                   */
  /* --------------------------------------------------------------- */
  HRTIM1->sTimerxRegs[HRTIM_TIMERINDEX_TIMER_C].SETx1R = HRTIM_SET1R_PER;
  HRTIM1->sTimerxRegs[HRTIM_TIMERINDEX_TIMER_C].RSTx1R = HRTIM_RST1R_CMP1;

  HRTIM1->sTimerxRegs[HRTIM_TIMERINDEX_TIMER_C].OUTxR = HRTIM_OUTR_DTEN + HRTIM_OUTR_FAULT1_1 + HRTIM_OUTR_FAULT2_1;
  HRTIM1->sTimerxRegs[HRTIM_TIMERINDEX_TIMER_C].FLTxR = HRTIM_FLTR_FLT1EN;

  /* Set compare registers for duty cycle on TC1 */
  HRTIM1->sTimerxRegs[HRTIM_TIMERINDEX_TIMER_C].CMP1xR = BUCK_PWM_PERIOD/20;    /* 5% duty cycle */
  /* Set deadtime values and lock deadtime signs */
  HRTIM1->sTimerxRegs[HRTIM_TIMERINDEX_TIMER_C].DTxR = HRTIM_DTR_DTFSLK + (DT_FALLING<<16) + HRTIM_DTR_DTRSLK + DT_RISING;

  /* ------------------------------------------- */
  /* ADC trigger initialization (with CMP2 event) */
  /* ------------------------------------------- */
  HRTIM1->sTimerxRegs[HRTIM_TIMERINDEX_TIMER_C].CMP2xR = BUCK_PWM_PERIOD/10;    /* Samples in middle of ON time */
  HRTIM1->sCommonRegs.CR1 = HRTIM_CR1_ADC2USRC_0; /* ADC trigger update: TimerA */
  HRTIM1->sCommonRegs.ADC2R = HRTIM_ADC2R_AD2TAC2; /* ADC trigger event: Timer A compare 2*/

  /* ---------------------------------------------------------- */
  /* FAULT2 global init: no filter, low polarity, Fault1 enable */
  /* ---------------------------------------------------------- */
  HRTIM1->sCommonRegs.FLTINR2 = HRTIM_FLTINR2_FLT1E;

  /* ---------------*/
  /* HRTIM start-up */
  /* ---------------*/
  /* Force register update before starting (optional) */
  HRTIM1->sCommonRegs.CR2 |= HRTIM_CR2_TASWU;

  /* Enable HRTIM's outputs TC1 and TC2 */
  /* Note: it is necessary to enable also GPIOs to have outputs functional */
  /* This must be done after HRTIM initialization */
  HRTIM1->sCommonRegs.OENR = HRTIM_OENR_TC1OEN + HRTIM_OENR_TC2OEN;

  /* Start HRTIM's TIMER C */
  HRTIM1->sMasterRegs.MCR = HRTIM_MCR_TCCEN;
}
#endif /* SNIPPET */

/* USER CODE END 4 */

void Error_Handler(void)
{
  /* USER CODE BEGIN Error_Handler_Debug */
  /* User can add his own implementation to report the HAL error return state */

  /* Turn LED5 on */
  BSP_LED_On(LED5);
  while(1)
  {
  }
  /* USER CODE END Error_Handler_Debug */
}
